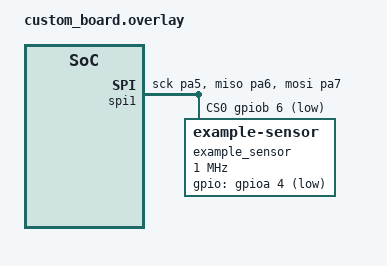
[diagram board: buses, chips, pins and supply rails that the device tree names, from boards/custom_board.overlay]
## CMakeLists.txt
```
# SPDX-License-Identifier: Apache-2.0 Copyright 2022 Martin Schröder
# <info@swedishembedded.com> Consulting: https://swedishembedded.com/go
# Training: https://swedishembedded.com/tag/training

cmake_minimum_required(VERSION 3.20.0)
find_package(Zephyr REQUIRED HINTS $ENV{ZEPHYR_BASE})
project(test)

if(CONFIG_CMOCK)
  unity_generate_test_runner(src/unit.c)
  cmock_generate_mocks(${ZEPHYR_BASE}/include/zephyr/kernel.h .)
  cmock_generate_mocks(${ZEPHYR_BASE}/include/zephyr/drivers/gpio.h .)
  cmock_generate_mocks(${ZEPHYR_BASE}/include/zephyr/drivers/spi.h .)
  target_sources(app PRIVATE src/unit.c)
else()
  target_sources(
    app
    PRIVATE
      ${CMAKE_CURRENT_LIST_DIR}/../../../../drivers/example/example_sensor.c)
  unity_generate_test_runner(src/integration.c)
  target_sources(app PRIVATE src/integration.c)
endif()
```

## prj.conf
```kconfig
# SPDX-License-Identifier: Apache-2.0
# Copyright 2022 Martin Schröder <info@swedishembedded.com>
# Consulting: https://swedishembedded.com/go
# Training: https://swedishembedded.com/tag/training

CONFIG_UNITY=y
CONFIG_ASSERT=n
CONFIG_SPI=y
CONFIG_TEST_LOGGING_DEFAULTS=n
```

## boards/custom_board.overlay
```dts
/* SPDX-License-Identifier: Apache-2.0 */
/**
 * Copyright 2022 Martin Schröder <info@swedishembedded.com>
 * Consulting: https://swedishembedded.com/go
 * Training: https://swedishembedded.com/tag/training
 **/

&spi1 {
	pinctrl-0 = <&spi1_sck_pa5 &spi1_miso_pa6 &spi1_mosi_pa7>;
	pinctrl-names = "default";
	cs-gpios = <
		&gpiob 6 (GPIO_ACTIVE_LOW | GPIO_PULL_UP)
	>;
	status = "okay";

	example_sensor: example_sensor@0{
		reg = <0>;
		compatible = "example-sensor";
		gpios = <&gpioa 4 GPIO_ACTIVE_LOW>;
		spi-max-frequency = <1000000>;
		status = "okay";
	};
};
```

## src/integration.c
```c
/*
 * Copyright (c) 2022 Martin Schröder Consulting
 *
 * SPDX-License-Identifier: Apache-2.0
 */
#include <unity.h>
#include <example/example.h>

void test_something_cool(void)
{
	TEST_ASSERT_EQUAL(0, 0);
}
```

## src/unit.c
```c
// SPDX-License-Identifier: Apache-2.0
/**
 * Copyright 2022 Martin Schröder <info@swedishembedded.com>
 * Consulting: https://swedishembedded.com/go
 * Training: https://swedishembedded.com/tag/training
 **/

#include "mock_kernel.h"
#include "mock_gpio.h"
#include "mock_spi.h"

#include <unity.h>
#include <example/example.h>
#include <zephyr/device.h>
#include <cmock_unit.h>
#include "../../../../../drivers/example/example_sensor.c"

struct example_sensor_config conf;
struct example_sensor ex = { .config = &conf };
struct device dev = { .data = &ex, .config = &conf };

void test_example_sensor_spi_read_reg_should_return_bytes_read_on_success(void)
{
	__wrap_spi_transceive_dt_ExpectAndReturn(&conf.spi, NULL, NULL, 0);
	__wrap_spi_transceive_dt_IgnoreArg_tx_bufs();
	__wrap_spi_transceive_dt_IgnoreArg_rx_bufs();
	TEST_ASSERT_EQUAL(0, _example_sensor_spi_read_reg(&ex, 0, NULL, 0));
}

void test_example_sensor_spi_read_reg_should_return_eio_on_spi_fail(void)
{
	__wrap_spi_transceive_dt_ExpectAndReturn(&conf.spi, NULL, NULL, -1);
	__wrap_spi_transceive_dt_IgnoreArg_tx_bufs();
	__wrap_spi_transceive_dt_IgnoreArg_rx_bufs();
	TEST_ASSERT_EQUAL(-EIO, _example_sensor_spi_read_reg(&ex, 0, NULL, 0));
}

void test_example_sensor_irq_work_should_return_without_giving_sem_on_read_fail(void)
{
	__wrap_spi_transceive_dt_ExpectAndReturn(&conf.spi, NULL, NULL, -1);
	__wrap_spi_transceive_dt_IgnoreArg_tx_bufs();
	__wrap_spi_transceive_dt_IgnoreArg_rx_bufs();
	_example_sensor_irq_work(&ex.work);
}

void test_example_sensor_irq_work_should_give_sem_on_success(void)
{
	__wrap_spi_transceive_dt_ExpectAndReturn(&conf.spi, NULL, NULL, 0);
	__wrap_spi_transceive_dt_IgnoreArg_tx_bufs();
	__wrap_spi_transceive_dt_IgnoreArg_rx_bufs();
	__wrap_k_sem_give_ExpectAnyArgs();
	_example_sensor_irq_work(&ex.work);
}

void test_example_sensor_gpio_callback_should_submit_irq_work(void)
{
	__wrap_k_work_submit_ExpectAndReturn(&ex.work, 0);
	_example_sensor_gpio_callback(NULL, &ex.gpio_cb, 0);
}

void test_example_sensor_init_should_return_einval_on_invalid_args(void)
{
	TEST_ASSERT_EQUAL(-EINVAL, _example_sensor_init(NULL));
}

void test_example_sensor_init_should_return_eio_on_io_operation_fail(void)
{
	__wrap_k_work_init_ExpectAnyArgs();
	__wrap_k_sem_init_ExpectAnyArgsAndReturn(-1);
	TEST_ASSERT_EQUAL(-EIO, _example_sensor_init(&dev));

	__wrap_k_work_init_ExpectAnyArgs();
	__wrap_k_sem_init_ExpectAnyArgsAndReturn(0);
	__wrap_gpio_pin_configure_dt_ExpectAnyArgsAndReturn(-1);
	TEST_ASSERT_EQUAL(-EIO, _example_sensor_init(&dev));

	__wrap_k_work_init_ExpectAnyArgs();
	__wrap_k_sem_init_ExpectAnyArgsAndReturn(0);
	__wrap_gpio_pin_configure_dt_ExpectAnyArgsAndReturn(0);
	__wrap_gpio_init_callback_Expect(&ex.gpio_cb, _example_sensor_gpio_callback,
					 BIT(conf.gpio.pin));
	__wrap_gpio_add_callback_ExpectAndReturn(conf.gpio.port, &ex.gpio_cb, -1);
	TEST_ASSERT_EQUAL(-EIO, _example_sensor_init(&dev));

	__wrap_k_work_init_ExpectAnyArgs();
	__wrap_k_sem_init_ExpectAnyArgsAndReturn(0);
	__wrap_gpio_pin_configure_dt_ExpectAnyArgsAndReturn(0);
	__wrap_gpio_init_callback_Expect(&ex.gpio_cb, _example_sensor_gpio_callback,
					 BIT(conf.gpio.pin));
	__wrap_gpio_add_callback_ExpectAndReturn(conf.gpio.port, &ex.gpio_cb, 0);
	__wrap_gpio_pin_interrupt_configure_dt_ExpectAnyArgsAndReturn(-1);
	TEST_ASSERT_EQUAL(-EIO, _example_sensor_init(&dev));
}

void test_example_sensor_init_should_initialize_driver(void)
{
	__wrap_k_work_init_ExpectAnyArgs();
	__wrap_k_sem_init_ExpectAnyArgsAndReturn(0);
	__wrap_gpio_pin_configure_dt_ExpectAnyArgsAndReturn(0);
	__wrap_gpio_init_callback_Expect(&ex.gpio_cb, _example_sensor_gpio_callback,
					 BIT(conf.gpio.pin));
	__wrap_gpio_add_callback_ExpectAndReturn(conf.gpio.port, &ex.gpio_cb, 0);
	__wrap_gpio_pin_interrupt_configure_dt_ExpectAnyArgsAndReturn(0);
	TEST_ASSERT_EQUAL(0, _example_sensor_init(&dev));
}

void test_example_sensor_sample_fetch_should_reset_and_take_semaphore(void)
{
	__wrap_k_sem_reset_Expect(&ex.sample_ready);
	__wrap_k_sem_take_ExpectAndReturn(&ex.sample_ready, K_FOREVER, 0);
	TEST_ASSERT_EQUAL(0, _example_sensor_sample_fetch(&dev, SENSOR_CHAN_AMBIENT_TEMP));
}

void test_example_sensor_sample_channel_get_should_return_value(void)
{
	struct sensor_value val;

	ex.temperature = 121;
	TEST_ASSERT_EQUAL(0, _example_sensor_channel_get(&dev, SENSOR_CHAN_AMBIENT_TEMP, &val));
	TEST_ASSERT_EQUAL(12, val.val1);
	TEST_ASSERT_EQUAL(1, val.val2);
}

void test_example_sensor_sample_channel_get_should_return_enotsup_for_wrong_channel(void)
{
	TEST_ASSERT_EQUAL(-ENOTSUP, _example_sensor_channel_get(&dev, -1, NULL));
}
```
